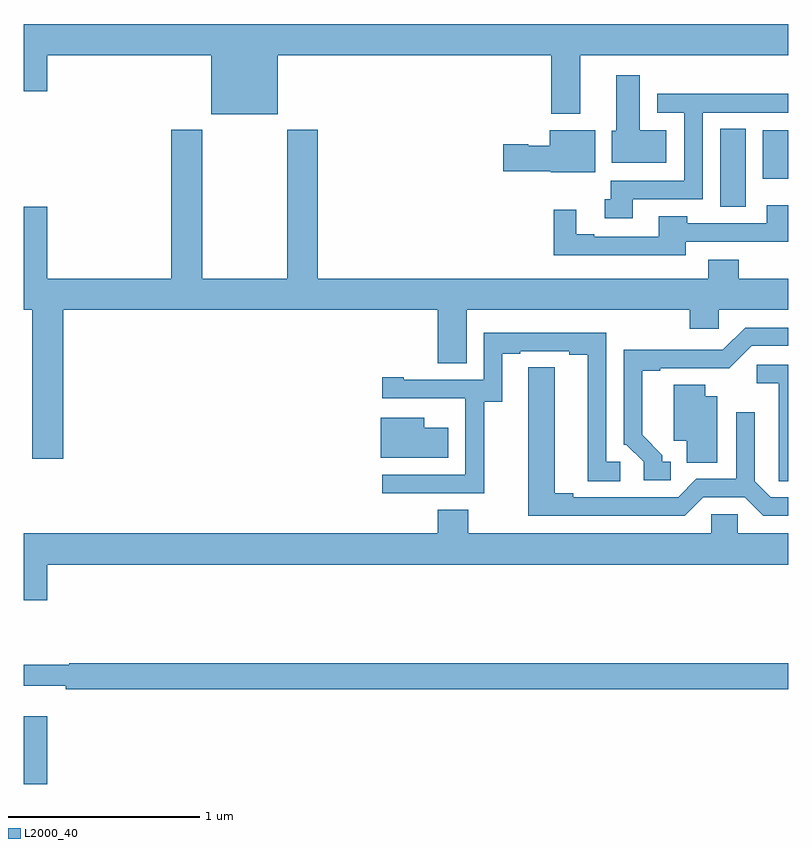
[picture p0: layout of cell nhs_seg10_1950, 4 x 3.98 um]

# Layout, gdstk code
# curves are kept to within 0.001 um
import gdstk
lib = gdstk.Library(unit=1e-6, precision=1e-09)
def R(c, l, rs):  # rectangles x0, y0, x1, y1
    for r in rs: c.add(gdstk.rectangle(r[:2], r[2:], *l))
def P(c, l, *ps):  # polygons
    for p in ps: c.add(gdstk.Polygon(p, *l))
L2000_40 = (2000, 40)

nhs_seg10_1950 = lib.new_cell('nhs_seg10_1950')
R(nhs_seg10_1950, L2000_40, [(213,1300.5,213.124,1300.855), (216.644,1303.519,216.778,1303.928), (216.866,1303.667,217,1303.921)])
P(nhs_seg10_1950, L2000_40, [(214.33,1304.312),(215.759,1304.312),(215.759,1304.007),(215.911,1304.007),(215.911,1304.312),(217,1304.312),(217,1304.476),(213,1304.476),(213,1304.124),(213.124,1304.124),(213.124,1304.312),(213.98,1304.312),(213.98,1304.003),(214.33,1304.003)],
  [(216.361,1303.921),(216.223,1303.921),(216.223,1304.209),(216.101,1304.209),(216.101,1303.917),(216.077,1303.917),(216.077,1303.751),(216.361,1303.751)],
  [(216.187,1303.56),(216.552,1303.56),(216.552,1304.013),(217,1304.013),(217,1304.111),(216.315,1304.111),(216.315,1304.013),(216.456,1304.013),(216.456,1303.656),(216.07,1303.656),(216.07,1303.559),(216.039,1303.559),(216.039,1303.461),(216.187,1303.461)],
  [(213.206,1302.98),(215.165,1302.98),(215.165,1302.7),(215.317,1302.7),(215.317,1302.98),(216.485,1302.98),(216.485,1302.882),(216.636,1302.882),(216.636,1302.98),(217,1302.98),(217,1303.144),(216.741,1303.144),(216.741,1303.243),(216.581,1303.243),(216.581,1303.144),(214.538,1303.144),(214.538,1303.924),(214.378,1303.924),(214.378,1303.144),(213.933,1303.144),(213.933,1303.924),(213.773,1303.924),(213.773,1303.144),(213.124,1303.144),(213.124,1303.519),(213,1303.519),(213,1302.98),(213.046,1302.98),(213.046,1302.201),(213.206,1302.201)],
  [(215.989,1303.921),(215.753,1303.921),(215.753,1303.84),(215.639,1303.84),(215.639,1303.848),(215.508,1303.848),(215.508,1303.706),(215.757,1303.706),(215.757,1303.7),(215.989,1303.7)],
  [(216.463,1303.338),(217,1303.338),(217,1303.528),(216.887,1303.528),(216.887,1303.434),(216.471,1303.434),(216.471,1303.471),(216.323,1303.471),(216.323,1303.362),(215.986,1303.362),(215.986,1303.375),(215.89,1303.375),(215.89,1303.504),(215.773,1303.504),(215.773,1303.266),(216.463,1303.266)],
  [(216.385,1302.186),(216.34,1302.186),(216.34,1302.221),(216.235,1302.326),(216.235,1302.663),(216.331,1302.663),(216.331,1302.675),(216.692,1302.674),(216.81,1302.792),(217,1302.792),(217,1302.888),(216.774,1302.888),(216.657,1302.771),(216.401,1302.771),(216.401,1302.773),(216.138,1302.773),(216.138,1302.276),(216.153,1302.276),(216.243,1302.186),(216.243,1302.09),(216.385,1302.09)],
  [(215.409,1302.499),(215.503,1302.499),(215.503,1302.75),(215.599,1302.75),(215.599,1302.765),(215.855,1302.765),(215.855,1302.745),(215.951,1302.745),(215.951,1302.085),(216.121,1302.085),(216.121,1302.186),(216.048,1302.186),(216.048,1302.861),(215.406,1302.861),(215.406,1302.615),(214.987,1302.615),(214.987,1302.628),(214.875,1302.628),(214.875,1302.519),(215.309,1302.519),(215.309,1302.518),(215.31,1302.518),(215.31,1302.117),(214.875,1302.117),(214.875,1302.021),(215.409,1302.021)],
  [(217,1302.693),(216.834,1302.693),(216.834,1302.596),(216.95,1302.596),(216.95,1302.193),(216.951,1302.193),(216.951,1302.085),(217,1302.085)],
  [(216.555,1302),(216.773,1302),(216.869,1301.904),(217,1301.904),(217,1302),(216.909,1302),(216.825,1302.084),(216.825,1302.445),(216.729,1302.445),(216.729,1302.096),(216.519,1302.096),(216.423,1302),(215.875,1302),(215.875,1302.02),(215.779,1302.02),(215.779,1302.68),(215.64,1302.68),(215.639,1301.904),(216.459,1301.904)],
  [(216.628,1302.529),(216.565,1302.529),(216.565,1302.59),(216.401,1302.59),(216.401,1302.296),(216.47,1302.296),(216.47,1302.181),(216.628,1302.181)],
  [(215.221,1302.364),(215.095,1302.364),(215.095,1302.415),(214.868,1302.415),(214.868,1302.206),(215.221,1302.206)],
  [(213.124,1301.648),(217,1301.648),(217,1301.812),(216.735,1301.812),(216.735,1301.91),(216.597,1301.91),(216.597,1301.812),(215.325,1301.812),(215.325,1301.936),(215.165,1301.936),(215.165,1301.812),(213,1301.812),(213,1301.46),(213.124,1301.46)],
  [(217,1301.132),(213.239,1301.132),(213.239,1301.125),(213,1301.125),(213,1301.015),(213.22,1301.015),(213.22,1300.996),(217,1300.996)])

lib.write_gds('nhs_seg10_1950.gds')
